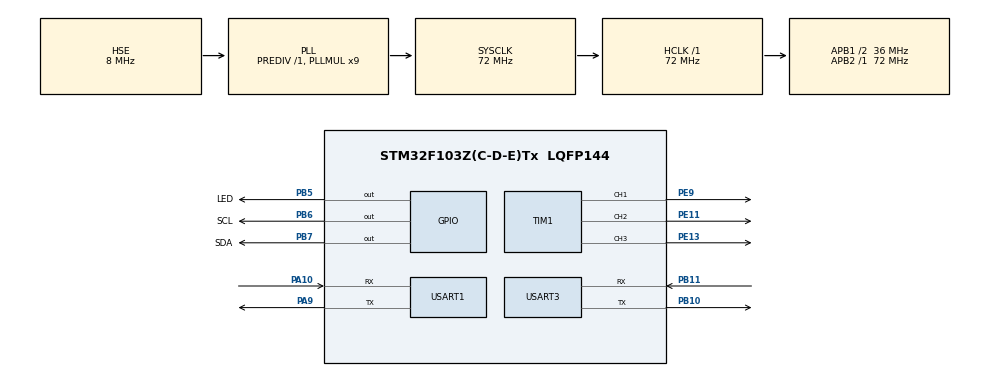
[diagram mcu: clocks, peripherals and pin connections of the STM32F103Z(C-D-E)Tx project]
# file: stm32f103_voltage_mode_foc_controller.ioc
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FREERTOS.Events01=printFlag,Static,printFlagControlBlock
FREERTOS.Tasks01=defaultTask,8,128,StartDefaultTask,Default,NULL,Dynamic,NULL,NULL;SensorTask,30,384,sensorTask,Default,NULL,Dynamic,NULL,NULL;CmdTask,27,512,cmdTask,Default,NULL,Dynamic,NULL,NULL;TelemetryTask,25,512,telemetryTask,Default,NULL,Dynamic,NULL,NULL
FREERTOS.configTOTAL_HEAP_SIZE=16384
Mcu.Family=STM32F1
Mcu.Name=STM32F103Z(C-D-E)Tx
Mcu.Package=LQFP144
Mcu.UserConstants=speed_calc_freq,motor_speed_calc_freq;pwm_freq,motor_pwm_freq
NVIC.PriorityGroup=NVIC_PRIORITYGROUP_4
NVIC.TIM3_IRQn=true\:5\:0\:false\:false\:true\:true\:true\:true\:true
NVIC.USART1_IRQn=true\:5\:0\:true\:false\:true\:true\:true\:true\:true
NVIC.USART3_IRQn=true\:5\:0\:false\:false\:true\:true\:true\:true\:true
OSC_IN.Mode=HSE-External-Oscillator
OSC_IN.Signal=RCC_OSC_IN
OSC_OUT.Mode=HSE-External-Oscillator
OSC_OUT.Signal=RCC_OSC_OUT
PA10.Mode=Asynchronous
PA10.Signal=USART1_RX
PA13.Mode=Serial_Wire
PA13.Signal=SYS_JTMS-SWDIO
PA14.Mode=Serial_Wire
PA14.Signal=SYS_JTCK-SWCLK
PA9.Mode=Asynchronous
PA9.Signal=USART1_TX
PB10.Mode=Asynchronous
PB10.Signal=USART3_TX
PB11.Mode=Asynchronous
PB11.Signal=USART3_RX
PB5.GPIO_Label=LED
PB5.GPIO_PuPd=GPIO_PULLUP
PB5.GPIO_Speed=GPIO_SPEED_FREQ_LOW
PB5.PinState=GPIO_PIN_SET
PB5.Signal=GPIO_Output
PB6.GPIO_Label=SCL
PB6.GPIO_ModeDefaultOutputPP=GPIO_MODE_OUTPUT_OD
PB6.GPIO_PuPd=GPIO_PULLUP
PB6.GPIO_Speed=GPIO_SPEED_FREQ_HIGH
PB6.Signal=GPIO_Output
PB7.GPIO_Label=SDA
PB7.GPIO_ModeDefaultOutputPP=GPIO_MODE_OUTPUT_OD
PB7.GPIO_PuPd=GPIO_PULLUP
PB7.GPIO_Speed=GPIO_SPEED_FREQ_HIGH
PB7.Signal=GPIO_Output
PE11.Signal=S_TIM1_CH2
PE13.Signal=S_TIM1_CH3
PE9.Signal=S_TIM1_CH1
ProjectManager.HeapSize=0x200
ProjectManager.StackSize=0x400
ProjectManager.TargetToolchain=MDK-ARM V5.32
RCC.ADCPresc=RCC_ADCPCLK2_DIV6
RCC.AHBFreq_Value=72000000
RCC.APB1CLKDivider=RCC_HCLK_DIV2
RCC.APB1Freq_Value=36000000
RCC.APB1TimFreq_Value=72000000
RCC.APB2Freq_Value=72000000
RCC.APB2TimFreq_Value=72000000
RCC.HCLKFreq_Value=72000000
RCC.PLLMUL=RCC_PLL_MUL9
RCC.PLLSourceVirtual=RCC_PLLSOURCE_HSE
RCC.SYSCLKFreq_VALUE=72000000
RCC.SYSCLKSource=RCC_SYSCLKSOURCE_PLLCLK
RCC.USBFreq_Value=72000000
SH.S_TIM1_CH1.0=TIM1_CH1,PWM Generation1 CH1
SH.S_TIM1_CH2.0=TIM1_CH2,PWM Generation2 CH2
SH.S_TIM1_CH3.0=TIM1_CH3,PWM Generation3 CH3
STMicroelectronics.X-CUBE-ALGOBUILD.1.4.0.LibraryCcDSPOoLibraryJjDSPOoLibrary=true
TIM1.AutoReloadPreload=TIM_AUTORELOAD_PRELOAD_ENABLE
TIM1.BreakPolarity=TIM_BREAKPOLARITY_LOW
TIM1.Channel-PWM\ Generation1\ CH1=TIM_CHANNEL_1
TIM1.Channel-PWM\ Generation2\ CH2=TIM_CHANNEL_2
TIM1.Channel-PWM\ Generation3\ CH3=TIM_CHANNEL_3
TIM1.CounterMode=TIM_COUNTERMODE_CENTERALIGNED3
TIM1.LockLevel=TIM_LOCKLEVEL_1
TIM1.Period=(72 * 1000000 / motor_pwm_freq)
TIM1.RepetitionCounter=0
TIM1.TIM_MasterOutputTrigger=TIM_TRGO_UPDATE
TIM3.Period=1000000 / speed_calc_freq
TIM3.Prescaler=72 - 1
TIM3.TIM_MasterOutputTrigger=TIM_TRGO_UPDATE
USART1.VirtualMode=VM_ASYNC
USART3.VirtualMode=VM_ASYNC
VP_FREERTOS_VS_CMSIS_V2.Mode=CMSIS_V2
VP_STMicroelectronics.X-CUBE-ALGOBUILD_VS_DSPOoLibraryJjLibrary_1.4.0_1.4.0.Mode=DSPOoLibraryJjLibrary
VP_TIM1_VS_ClockSourceINT.Mode=Internal
VP_TIM3_VS_ClockSourceINT.Mode=Internal
board=custom

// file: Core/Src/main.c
/* USER CODE BEGIN Header */
/**
  ******************************************************************************
  * @file           : main.c
  * @brief          : Main program body
  ******************************************************************************
  * @attention
  *
  * Copyright (c) 2026 STMicroelectronics.
  * All rights reserved.
  *
  * This software is licensed under terms that can be found in the LICENSE file
  * in the root directory of this software component.
  * If no LICENSE file comes with this software, it is provided AS-IS.
  *
  ******************************************************************************
  */
/* USER CODE END Header */
#include "main.h"
#include "cmsis_os.h"
#include "tim.h"
#include "usart.h"
#include "gpio.h"

/* USER CODE BEGIN Includes */
#include <string.h>
#include <stdio.h>
#include <math.h>
#include "global_def.h"
#include "motor/motor_runtime_param.h"
#include "motor/motor_foc.h"
#include "motor/as5600.h"
#include "motor/motor_cmd.h"
#include "motor/motor_control_service.h"
/* USER CODE END Includes */

void SystemClock_Config(void);
void MX_FREERTOS_Init(void);

/* USER CODE BEGIN 0 */

/**
 * @brief  Set three-phase PWM duty cycles (overrides weak default in motor_foc.c)
 * @param  d_u  Phase U duty (0~1)
 * @param  d_v  Phase V duty (0~1)
 * @param  d_w  Phase W duty (0~1)
 * @note   htim1.Instance->ARR is the timer auto-reload value (counter period)
 */
void set_pwm_duty(float d_u, float d_v, float d_w) {
  d_u = _limit(d_u, 0.05f, 0.95f); /* Leave small dead-band, avoid full 0 or 1 */
  d_v = _limit(d_v, 0.05f, 0.95f);
  d_w = _limit(d_w, 0.05f, 0.95f);

  uint16_t arr = __HAL_TIM_GET_AUTORELOAD(&htim1);

  __HAL_TIM_SET_COMPARE(&htim1, TIM_CHANNEL_1, (uint32_t)(d_u * arr));
  __HAL_TIM_SET_COMPARE(&htim1, TIM_CHANNEL_2, (uint32_t)(d_v * arr));
  __HAL_TIM_SET_COMPARE(&htim1, TIM_CHANNEL_3, (uint32_t)(d_w * arr));
}

/* USER CODE END 0 */

int main(void)
{

  /* MCU Configuration--------------------------------------------------------*/

  /* Reset of all peripherals, Initializes the Flash interface and the Systick. */
  HAL_Init();

  /* Configure the system clock */
  SystemClock_Config();

  /* Initialize all configured peripherals */
  MX_GPIO_Init();
  MX_TIM1_Init();
  MX_TIM3_Init();
  MX_USART1_UART_Init();
  MX_USART3_UART_Init();
  /* USER CODE BEGIN 2 */
  motor_cmd_init();
  // 速度环：0.08f  位置环：0.2f
  set_motor_pid(
      0.2f, 0.0f, 0.0f,
      0.08f, 0.0f, 0.0f,
      0.0f, 0.0f, 0.0f,
      0.0f, 0.0f, 0.0f
  );

  HAL_TIM_PWM_Start(&htim1, TIM_CHANNEL_1);
  HAL_TIM_PWM_Start(&htim1, TIM_CHANNEL_2);
  HAL_TIM_PWM_Start(&htim1, TIM_CHANNEL_3);

  motor_control_service_estop();

  printf("System Start. Idle.\r\n");
  printf("CMD: H for help\r\n");

  test_mode = 0;
  zero_cali_state = CALI_IDLE;
  /* USER CODE END 2 */

  /* Init scheduler */
  osKernelInitialize();  /* Call init function for freertos objects (in cmsis_os2.c) */
  MX_FREERTOS_Init();

  /* Start scheduler */
  osKernelStart();

  /* We should never get here as control is now taken by the scheduler */

  /* Infinite loop */
  while (1)
  {

  }
}

void SystemClock_Config(void)
{
  RCC_OscInitTypeDef RCC_OscInitStruct = {0};
  RCC_ClkInitTypeDef RCC_ClkInitStruct = {0};

  /** Initializes the RCC Oscillators according to the specified parameters
  * in the RCC_OscInitTypeDef structure.
  */
  RCC_OscInitStruct.OscillatorType = RCC_OSCILLATORTYPE_HSE;
  RCC_OscInitStruct.HSEState = RCC_HSE_ON;
  RCC_OscInitStruct.HSEPredivValue = RCC_HSE_PREDIV_DIV1;
  RCC_OscInitStruct.HSIState = RCC_HSI_ON;
  RCC_OscInitStruct.PLL.PLLState = RCC_PLL_ON;
  RCC_OscInitStruct.PLL.PLLSource = RCC_PLLSOURCE_HSE;
  RCC_OscInitStruct.PLL.PLLMUL = RCC_PLL_MUL9;
  if (HAL_RCC_OscConfig(&RCC_OscInitStruct) != HAL_OK)
  {
    Error_Handler();
  }

  /** Initializes the CPU, AHB and APB buses clocks
  */
  RCC_ClkInitStruct.ClockType = RCC_CLOCKTYPE_HCLK|RCC_CLOCKTYPE_SYSCLK
                              |RCC_CLOCKTYPE_PCLK1|RCC_CLOCKTYPE_PCLK2;
  RCC_ClkInitStruct.SYSCLKSource = RCC_SYSCLKSOURCE_PLLCLK;
  RCC_ClkInitStruct.AHBCLKDivider = RCC_SYSCLK_DIV1;
  RCC_ClkInitStruct.APB1CLKDivider = RCC_HCLK_DIV2;
  RCC_ClkInitStruct.APB2CLKDivider = RCC_HCLK_DIV1;

  if (HAL_RCC_ClockConfig(&RCC_ClkInitStruct, FLASH_LATENCY_2) != HAL_OK)
  {
    Error_Handler();
  }
}

void Error_Handler(void)
{
  __disable_irq();
  while (1)
  {
  }
}

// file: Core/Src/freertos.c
/* USER CODE BEGIN Header */
/**
  ******************************************************************************
  * File Name          : freertos.c
  * Description        : Code for freertos applications
  ******************************************************************************
  * @attention
  *
  * Copyright (c) 2026 STMicroelectronics.
  * All rights reserved.
  *
  * This software is licensed under terms that can be found in the LICENSE file
  * in the root directory of this software component.
  * If no LICENSE file comes with this software, it is provided AS-IS.
  *
  ******************************************************************************
  */
/* USER CODE END Header */

#include "FreeRTOS.h"
#include "task.h"
#include "main.h"
#include "cmsis_os.h"

/* USER CODE BEGIN Includes */
#include <stdio.h>
#include <math.h>
#include "global_def.h"
#include "motor/motor_runtime_param.h"
#include "motor/motor_foc.h"
#include "motor/motor_control_service.h"
#include "motor/as5600.h"
#include "motor/motor_cmd.h"
#include "app_event.h"
#include "usart.h"
#include "tim.h"
#include "Drivers/voice_bridge/voice_bridge.h"
/* USER CODE END Includes */

typedef StaticEventGroup_t osStaticEventGroupDef_t;

/* USER CODE BEGIN PM */
static void encoder_sample_update(void);

/* USER CODE END PM */

/* Definitions for defaultTask */
osThreadId_t defaultTaskHandle;
const osThreadAttr_t defaultTask_attributes = {
  .name = "defaultTask",
  .stack_size = 128 * 4,
  .priority = (osPriority_t) osPriorityLow,
};
/* Definitions for SensorTask */
osThreadId_t SensorTaskHandle;
const osThreadAttr_t SensorTask_attributes = {
  .name = "SensorTask",
  .stack_size = 384 * 4,
  .priority = (osPriority_t) osPriorityNormal6,
};
/* Definitions for CmdTask */
osThreadId_t CmdTaskHandle;
const osThreadAttr_t CmdTask_attributes = {
  .name = "CmdTask",
  .stack_size = 512 * 4,
  .priority = (osPriority_t) osPriorityNormal3,
};
/* Definitions for TelemetryTask */
osThreadId_t TelemetryTaskHandle;
const osThreadAttr_t TelemetryTask_attributes = {
  .name = "TelemetryTask",
  .stack_size = 512 * 4,
  .priority = (osPriority_t) osPriorityNormal1,
};
/* Definitions for printFlag */
osEventFlagsId_t printFlagHandle;
osStaticEventGroupDef_t printFlagControlBlock;
const osEventFlagsAttr_t printFlag_attributes = {
  .name = "printFlag",
  .cb_mem = &printFlagControlBlock,
  .cb_size = sizeof(printFlagControlBlock),
};

void StartDefaultTask(void *argument);
void sensorTask(void *argument);
void cmdTask(void *argument);
void telemetryTask(void *argument);

void MX_FREERTOS_Init(void); /* (MISRA C 2004 rule 8.1) */

void MX_FREERTOS_Init(void) {

  /* Create the thread(s) */
  /* creation of defaultTask */
  defaultTaskHandle = osThreadNew(StartDefaultTask, NULL, &defaultTask_attributes);

  /* creation of SensorTask */
  SensorTaskHandle = osThreadNew(sensorTask, NULL, &SensorTask_attributes);

  /* creation of CmdTask */
  CmdTaskHandle = osThreadNew(cmdTask, NULL, &CmdTask_attributes);

  /* creation of TelemetryTask */
  TelemetryTaskHandle = osThreadNew(telemetryTask, NULL, &TelemetryTask_attributes);

  /* Create the event(s) */
  /* creation of printFlag */
  printFlagHandle = osEventFlagsNew(&printFlag_attributes);

  /* USER CODE BEGIN RTOS_EVENTS */
  app_event_bind_print_flag(printFlagHandle);
  /* USER CODE END RTOS_EVENTS */

}

void StartDefaultTask(void *argument)
{
  /* USER CODE BEGIN StartDefaultTask */
  /* Start UART interrupt reception after RTOS is running */
  usart1_start_rx_it();

  #if VOICE_BRIDGE_ENABLE
  vb_init();
  usart3_start_rx_it();
  #endif

  /* Start control timer after RTOS objects/tasks are fully created */
  HAL_TIM_Base_Start_IT(&htim3);

  /* Infinite loop */
  for(;;)
  {
    osDelay(1);
  }
  /* USER CODE END StartDefaultTask */
}

void sensorTask(void *argument)
{
  /* USER CODE BEGIN sensorTask */
  /* Infinite loop */
  for(;;)
  {
    ulTaskNotifyTake(pdTRUE, portMAX_DELAY);

    encoder_sample_update();
  }
  /* USER CODE END sensorTask */
}

void cmdTask(void *argument)
{
  /* USER CODE BEGIN cmdTask */
  /* Infinite loop */
  for(;;)
  {
    osEventFlagsWait(printFlagHandle, APP_EVENT_CMD_RECV, osFlagsWaitAny, osWaitForever);

    motor_cmd_poll();

    #if VOICE_BRIDGE_ENABLE
    vb_poll();
    #endif

    //osEventFlagsClear(printFlagHandle, APP_EVENT_CMD_RECV);
  }
  /* USER CODE END cmdTask */
}

void telemetryTask(void *argument)
{
  /* USER CODE BEGIN telemetryTask */
  /* Infinite loop */
  for(;;)
  {
    osEventFlagsWait(printFlagHandle, APP_EVENT_STATUS_PRINT, osFlagsWaitAny, osWaitForever);
    motor_control_service_print_status();
  }
  /* USER CODE END telemetryTask */
}

/* USER CODE BEGIN Application */
static void encoder_sample_update(void)
{
  if (encoder_sample_req) {
      __disable_irq();
      encoder_sample_req = 0;
      __enable_irq();

      uint16_t raw = as5600_read_angle();
      if (raw != 0xFFFF) {
          float raw_angle = (float)raw * 2.0f * PI / 4096.0f;
          float new_angle = raw_angle;

          if (new_angle < 0.0f) new_angle += 2.0f * PI;
          if (new_angle >= 2.0f * PI) new_angle -= 2.0f * PI;

          __disable_irq();
          encoder_angle_cache = new_angle;
          encoder_sample_ready = 1;
          __enable_irq();
      }
  }
}

/* USER CODE END Application */
